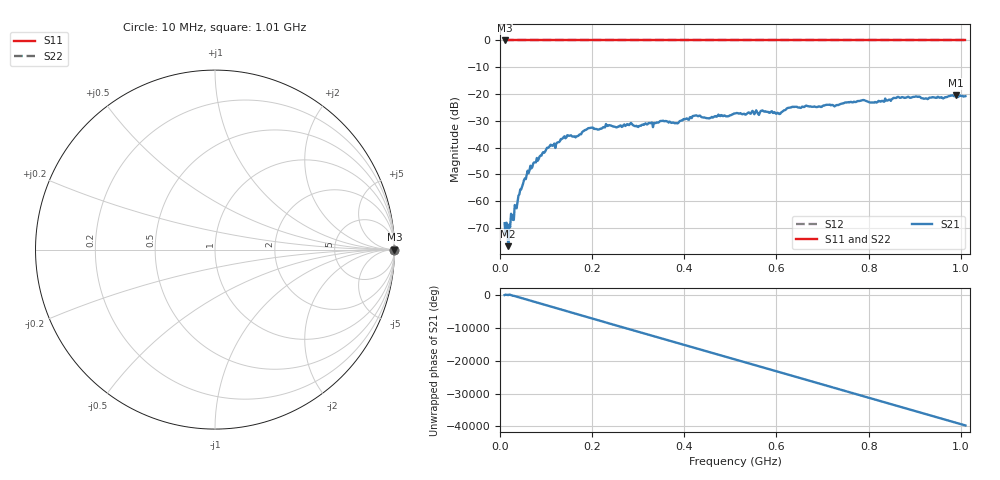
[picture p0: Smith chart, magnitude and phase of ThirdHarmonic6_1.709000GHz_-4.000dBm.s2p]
! 8/16/2025 8:33:01 PM
! C:\ANRITSUVNA\TEMP\TEMP.S2P
! CHANNEL.1
! TR.MEASUREMENT
! RAW.DATA
! RF.CORRECTION.OFF
! AVERAGING.OFF
! IF.BANDWIDTH: 5KHZ
! SWEEPTYPE:  FREQ.SWEEP(Linear)
! Reference Plane Port Info
! PORT:  PORT1  PORT2
! DISTANCE:  0  m  0  m
! TIME:  0  s  0  s
! PHASE.OFFSET:  0  deg.  0  deg.
! LOSS:  0  dB  0  dB
! REF.LOSS:  0  dB  0  dB
! REF.FREQ:  0  Hz  0  Hz
! Power Info
! POWER:  -20  dBm  -20  dBm
! EFF.POWER:  -20  dBm  -20  dBm
! SOURCE.ATTEN:  0  dB  0  dB
! TEST.ATTEN:  0  dB  0  dB
# GHZ S RI R 50.0
! FREQ.GHZ  S11RE  S11IM  S21RE  S21IM  S12RE  S12IM  S22RE  S22IM
!; PortSelection: Port_12
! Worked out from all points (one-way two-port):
!   501 points, 10 MHz to 1.01 GHz, reference 50 ohm
!   highest |S21| = -20.41 dB at 990 MHz (marker M1); lowest = -76.8 dB at 18 MHz (marker M2)
!   lowest |S11| = 0.0 dB at 10 MHz (marker M3)
!   |S11| at or under -10 dB: nowhere
!   |S22| runs from 0.0 to 0.0 dB; largest |S21 - S12| = 1.1
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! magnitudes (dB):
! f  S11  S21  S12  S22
! 10 MHz  0.0  -68.2  0.0  0.0
! 14 MHz  0.0  -68.1  0.0  0.0
! 18 MHz  0.0  -76.8  0.0  0.0
! 48 MHz  0.0  -54.6  0.0  0.0
! 62 MHz  0.0  -49.6  0.0  0.0
! 76 MHz  0.0  -45.5  0.0  0.0
! 106 MHz  0.0  -39.9  0.0  0.0
! 136 MHz  0.0  -36.6  0.0  0.0
! 178 MHz  0.0  -34.3  0.0  0.0
! 234 MHz  0.0  -31.9  0.0  0.0
! 302 MHz  0.0  -31.9  0.0  0.0
! 344 MHz  0.0  -30.6  0.0  0.0
! 382 MHz  0.0  -30.9  0.0  0.0
! 422 MHz  0.0  -28.1  0.0  0.0
! 452 MHz  0.0  -29.1  0.0  0.0
! 510 MHz  0.0  -27.3  0.0  0.0
! 604 MHz  0.0  -27.2  0.0  0.0
! 632 MHz  0.0  -25.1  0.0  0.0
! 678 MHz  0.0  -24.7  0.0  0.0
! 844 MHz  0.0  -22.1  0.0  0.0
! 990 MHz  0.0  -20.4  0.0  0.0
! 1.01 GHz  0.0  -20.8  0.0  0.0
